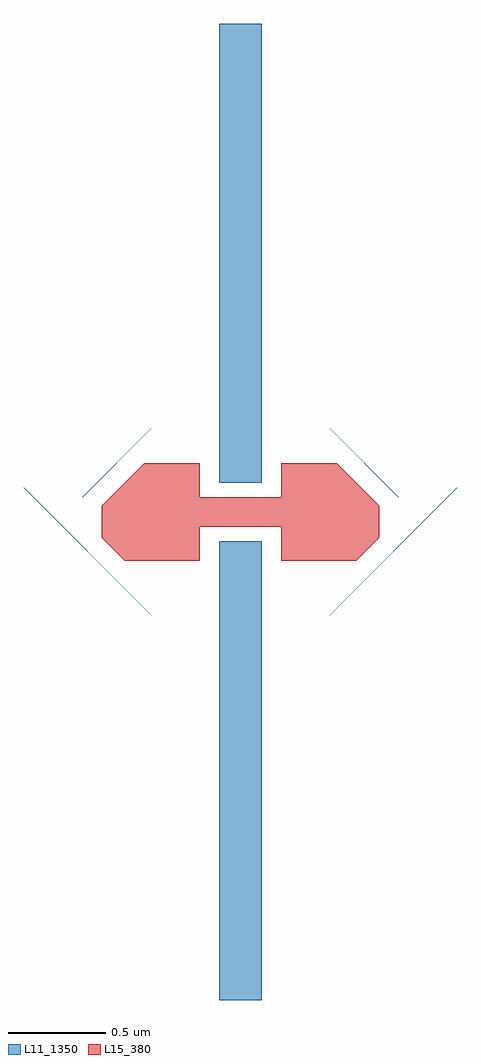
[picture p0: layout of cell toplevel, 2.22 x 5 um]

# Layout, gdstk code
from math import pi, radians
import gdstk
lib = gdstk.Library(unit=1e-6, precision=1e-09)
def R(c, l, rs):  # rectangles x0, y0, x1, y1
    for r in rs: c.add(gdstk.rectangle(r[:2], r[2:], *l))
def P(c, l, *ps):  # polygons
    for p in ps: c.add(gdstk.Polygon(p, *l))
L11_1350 = (11, 1350)
L15_380 = (15, 380)

boolean = lib.new_cell('boolean')
R(boolean, L11_1350, [(-0.11,-2.5,0.11,-0.15), (-0.11,0.15,0.11,2.5)])

junction = lib.new_cell('Junction')
junction.add(gdstk.Reference(boolean, (0,0)))

rectangle = lib.new_cell('rectangle')
P(rectangle, L11_1350, [(0.456,0.429),(0.81,0.076),(0.809,0.075),(0.456,0.429)])

rectangle002 = lib.new_cell('rectangle002')
P(rectangle002, L11_1350, [(0.456,0.529),(1.11,-0.124),(1.109,-0.125),(0.456,0.529)])

boolean003 = lib.new_cell('boolean003')
P(boolean003, L15_380, [(-0.21,-0.075),(0.21,-0.075),(0.21,-0.25),(0.593,-0.25),(0.71,-0.133),(0.71,0.033),(0.493,0.25),(0.21,0.25),(0.21,0.075),(-0.21,0.075),(-0.21,0.25),(-0.493,0.25),(-0.71,0.033),(-0.71,-0.133),(-0.593,-0.25),(-0.21,-0.25)])

h_undercut_with_asymmetr = lib.new_cell('H undercut with asymmetric s')
h_undercut_with_asymmetr.add(gdstk.Reference(rectangle, (0,0)))
h_undercut_with_asymmetr.add(gdstk.Reference(rectangle002, (0,0), x_reflection=True))
h_undercut_with_asymmetr.add(gdstk.Reference(rectangle, (0,0), rotation=pi, x_reflection=True))
h_undercut_with_asymmetr.add(gdstk.Reference(rectangle002, (0,0), rotation=pi))
h_undercut_with_asymmetr.add(gdstk.Reference(boolean003, (0,0)))

toplevel = lib.new_cell('toplevel')
toplevel.add(gdstk.Reference(junction, (0,0)))
toplevel.add(gdstk.Reference(h_undercut_with_asymmetr, (0,0)))

lib.write_gds('toplevel.gds')
